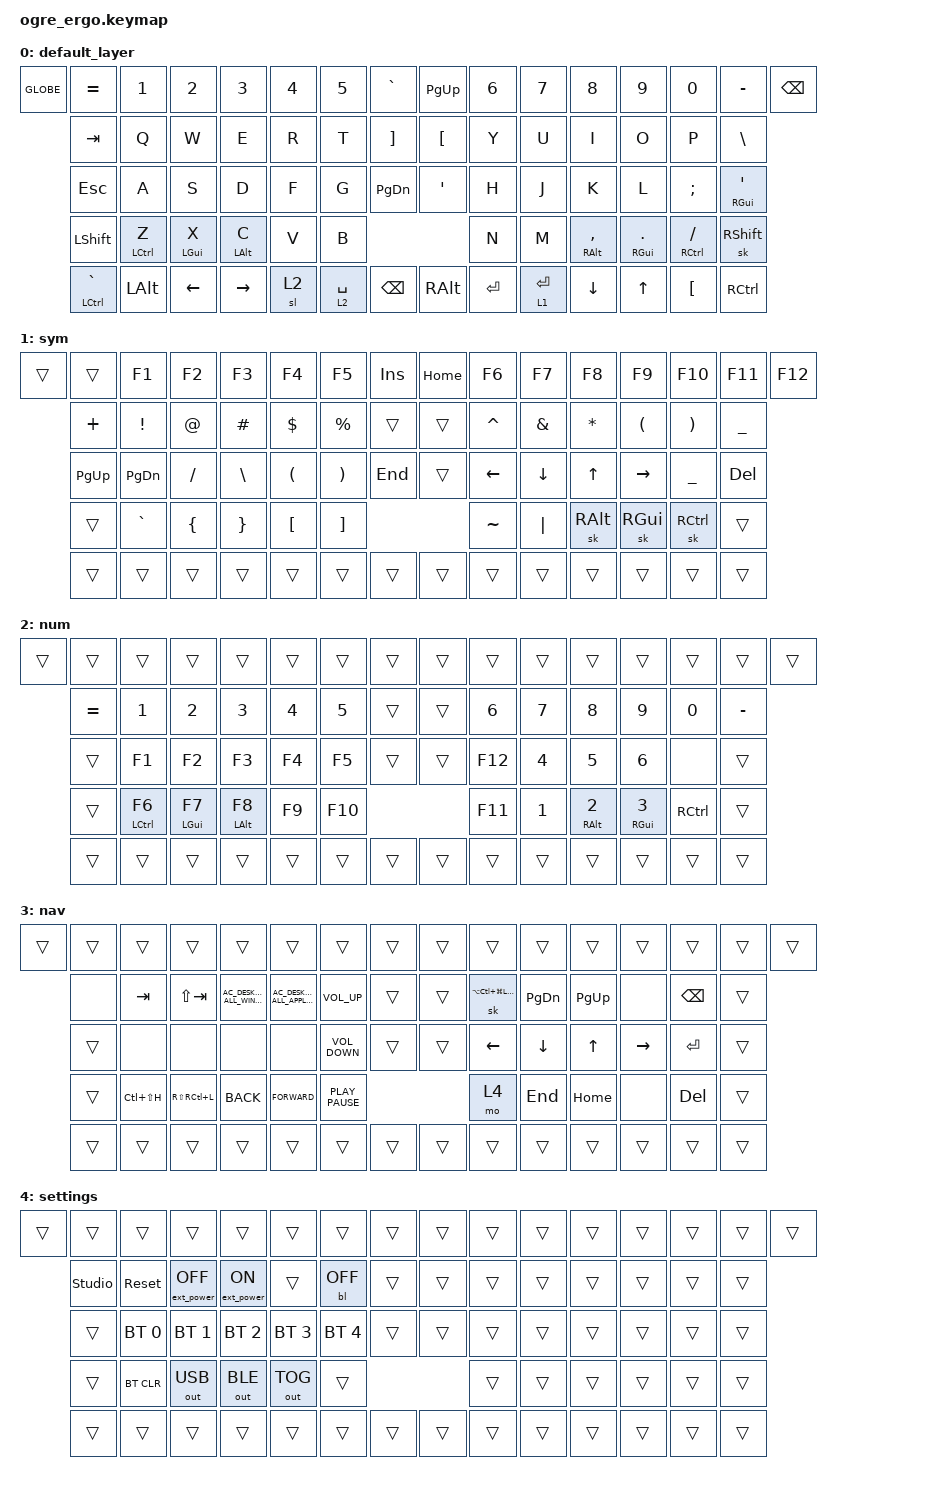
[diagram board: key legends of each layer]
/*
 * Copyright (c) 2020 The ZMK Contributors
 *
 * SPDX-License-Identifier: MIT
 */

#include <behaviors.dtsi>
#include <dt-bindings/zmk/backlight.h>
#include <dt-bindings/zmk/bt.h>
#include <dt-bindings/zmk/ext_power.h>
#include <dt-bindings/zmk/keys.h>
#include <dt-bindings/zmk/outputs.h>

/ {
    behaviors {
        // Custom hold-tap with longer tapping term for improved mod-tap behavior
        my_mod_tap: my_mod_tap {
            compatible = "zmk,behavior-hold-tap";
            #binding-cells = <2>;
            flavor = "tap-preferred";
            tapping-term-ms = <250>;         // More time to distinguish hold from tap
            quick-tap-ms = <150>;            // Allows quick tap functionality
            require-prior-idle-ms = <100>;   // If another key was pressed within this time, prefer tap
            bindings = <&kp>, <&kp>;
        };
    };

    keymap {
        compatible = "zmk,keymap";

        default_layer {
            // Ogre Ergo layout with Corne-inspired bindings
            bindings = <
&kp GLOBE    &kp EQUAL       &kp N1                   &kp N2                   &kp N3                   &kp N4       &kp N5       &kp GRAVE         &kp PG_UP    &kp N6     &kp N7       &kp N8                        &kp N9                        &kp N0                    &kp MINUS            &kp BACKSPACE
           &kp TAB         &kp Q                    &kp W                    &kp E                    &kp R        &kp T        &kp RBKT          &kp LBKT     &kp Y      &kp U        &kp I                         &kp O                         &kp P                     &kp BACKSLASH
           &kp ESCAPE      &kp A                    &kp S                    &kp D                    &kp F        &kp G        &kp PG_DN         &kp SQT      &kp H      &kp J        &kp K                         &kp L                         &kp SEMI                  &my_mod_tap RIGHT_GUI SQT
           &kp LEFT_SHIFT  &my_mod_tap LCTRL Z      &my_mod_tap LEFT_GUI X   &my_mod_tap LEFT_ALT C   &kp V        &kp B                                       &kp N      &kp M        &my_mod_tap RIGHT_ALT COMMA   &my_mod_tap RIGHT_GUI PERIOD  &my_mod_tap RCTRL SLASH  &sk RIGHT_SHIFT
           &mt LCTRL GRAVE &kp LALT                 &kp LEFT                 &kp RIGHT                &sl 2        &lt 2 SPACE  &kp BSPC         &kp RALT     &kp ENTER  &lt 1 ENTER  &kp DOWN                      &kp UP                        &kp LBKT                  &kp RCTRL
            >;
        };

        sym {
            bindings = <
&trans  &trans           &kp F1           &kp F2           &kp F3                &kp F4                   &kp F5              &kp INS      &kp HOME       &kp F6         &kp F7         &kp F8         &kp F9                &kp F10               &kp F11          &kp F12
        &kp PLUS         &kp EXCLAMATION  &kp AT_SIGN      &kp HASH              &kp DOLLAR               &kp PERCENT         &trans       &trans         &kp CARET      &kp AMPERSAND  &kp ASTERISK   &kp LEFT_PARENTHESIS  &kp RIGHT_PARENTHESIS &kp UNDERSCORE
        &kp PAGE_UP      &kp PAGE_DOWN    &kp SLASH        &kp BACKSLASH         &kp LEFT_PARENTHESIS     &kp RIGHT_PARENTHESIS &kp END   &trans         &kp LEFT       &kp DOWN       &kp UP         &kp RIGHT             &kp UNDERSCORE        &kp DELETE
        &trans           &kp GRAVE        &kp LEFT_BRACE   &kp RIGHT_BRACE       &kp LEFT_BRACKET         &kp RIGHT_BRACKET                              &kp TILDE      &kp PIPE       &sk RIGHT_ALT  &sk RIGHT_GUI         &sk RCTRL             &trans
        &trans           &trans           &trans           &trans                &trans                   &trans              &trans       &trans         &trans         &trans         &trans         &trans                &trans                &trans
            >;
        };

        num {
            bindings = <
&trans  &trans    &trans           &trans           &trans           &trans  &trans     &trans   &trans     &trans       &trans        &trans                  &trans                  &trans             &trans     &trans
        &kp EQUAL &kp N1           &kp N2           &kp N3           &kp N4  &kp N5     &trans   &trans     &kp N6       &kp N7        &kp N8                  &kp N9                  &kp N0             &kp MINUS
        &trans    &kp F1           &kp F2           &kp F3           &kp F4  &kp F5     &trans   &trans     &kp F12      &kp NUMBER_4  &kp N5                  &kp NUMBER_6            &none              &trans
        &trans    &mt LCTRL F6     &mt LEFT_GUI F7  &mt LEFT_ALT F8  &kp F9  &kp F10             &kp F11    &kp NUMBER_1 &mt RIGHT_ALT NUMBER_2  &mt RIGHT_GUI NUMBER_3  &kp RIGHT_CONTROL  &trans
        &trans    &trans           &trans           &trans           &trans  &trans     &trans   &trans     &trans       &trans        &trans                  &trans                  &trans             &trans
            >;
        };

        nav {
            bindings = <
&trans  &trans         &trans         &trans                             &trans                                  &trans               &trans          &trans   &trans     &trans          &trans        &trans        &trans     &trans     &trans     &trans
        &none          &kp TAB        &kp LS(TAB)                        &kp C_AC_DESKTOP_SHOW_ALL_WINDOWS       &kp C_AC_DESKTOP_SHOW_ALL_APPLICATIONS &kp K_VOLUME_UP &trans &trans &sk LA(LC(LG(LEFT_SHIFT))) &kp PAGE_DOWN &kp PG_UP &none &kp BACKSPACE &trans
        &trans         &none          &none                              &none                                   &none                &kp K_VOLUME_DOWN    &trans   &trans     &kp LEFT        &kp DOWN_ARROW &kp UP_ARROW &kp RIGHT &kp ENTER      &trans
        &trans         &kp LC(LS(H))  &kp RS(RC(L))                      &kp K_BACK                              &kp K_FORWARD        &kp K_PLAY_PAUSE                        &mo 4           &kp END        &kp HOME      &none      &kp DEL        &trans
        &trans         &trans         &trans                             &trans                                  &trans               &trans               &trans   &trans     &trans          &trans         &trans        &trans     &trans         &trans
            >;
        };

        settings {
            bindings = <
&trans  &trans          &trans        &trans             &trans            &trans        &trans        &trans      &trans   &trans  &trans  &trans  &trans  &trans  &trans  &trans
        &studio_unlock  &sys_reset    &ext_power EP_OFF  &ext_power EP_ON  &trans        &bl BL_OFF    &trans      &trans   &trans  &trans  &trans  &trans  &trans  &trans
        &trans          &bt BT_SEL 0  &bt BT_SEL 1       &bt BT_SEL 2      &bt BT_SEL 3  &bt BT_SEL 4  &trans      &trans   &trans  &trans  &trans  &trans  &trans  &trans
        &trans          &bt BT_CLR    &out OUT_USB       &out OUT_BLE      &out OUT_TOG  &trans                             &trans  &trans  &trans  &trans  &trans  &trans
        &trans          &trans        &trans             &trans            &trans        &trans        &trans      &trans   &trans  &trans  &trans  &trans  &trans  &trans
            >;
        };
    };

    conditional_layers {
        compatible = "zmk,conditional-layers";

        both {
            if-layers = <1 2>;
            then-layer = <3>;
        };
    };
};
